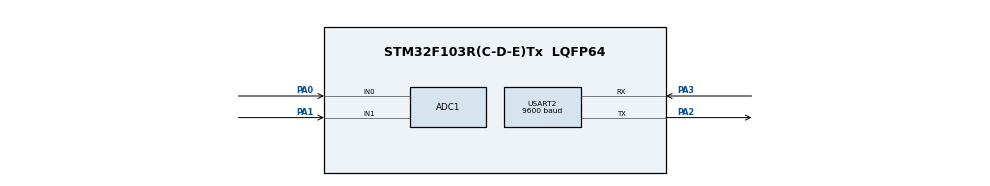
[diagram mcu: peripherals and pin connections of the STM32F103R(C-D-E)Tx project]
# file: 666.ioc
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ADC1.Channel-1\#ChannelRegularConversion=ADC_CHANNEL_0
ADC1.Channel-2\#ChannelRegularConversion=ADC_CHANNEL_1
ADC1.ContinuousConvMode=ENABLE
ADC1.EnableAnalogWatchDog=false
ADC1.EnableInjectedConversion=DISABLE
ADC1.EnableRegularConversion=ENABLE
ADC1.NbrOfConversion=2
ADC1.NbrOfConversionFlag=1
ADC1.Rank-1\#ChannelRegularConversion=1
ADC1.Rank-2\#ChannelRegularConversion=2
ADC1.SamplingTime-1\#ChannelRegularConversion=ADC_SAMPLETIME_7CYCLES_5
ADC1.SamplingTime-2\#ChannelRegularConversion=ADC_SAMPLETIME_7CYCLES_5
ADC1.master=1
Dma.ADC1.0.Direction=DMA_PERIPH_TO_MEMORY
Dma.ADC1.0.Instance=DMA1_Channel1
Dma.ADC1.0.MemDataAlignment=DMA_MDATAALIGN_WORD
Dma.ADC1.0.MemInc=DMA_MINC_ENABLE
Dma.ADC1.0.Mode=DMA_CIRCULAR
Dma.ADC1.0.PeriphDataAlignment=DMA_PDATAALIGN_WORD
Dma.ADC1.0.PeriphInc=DMA_PINC_DISABLE
Dma.ADC1.0.Priority=DMA_PRIORITY_LOW
Dma.Request0=ADC1
Mcu.Family=STM32F1
Mcu.Name=STM32F103R(C-D-E)Tx
Mcu.Package=LQFP64
NVIC.ADC1_2_IRQn=true\:0\:0\:false\:false\:true\:true\:true\:true
NVIC.DMA1_Channel1_IRQn=true\:0\:0\:false\:false\:true\:false\:true\:true
NVIC.PriorityGroup=NVIC_PRIORITYGROUP_4
NVIC.USART2_IRQn=true\:0\:0\:false\:false\:true\:true\:true\:true
PA0-WKUP.Signal=ADCx_IN0
PA1.Signal=ADCx_IN1
PA2.Mode=Asynchronous
PA2.Signal=USART2_TX
PA3.Mode=Asynchronous
PA3.Signal=USART2_RX
ProjectManager.HeapSize=0x200
ProjectManager.StackSize=0x400
ProjectManager.TargetToolchain=MDK-ARM V5
RCC.APB1Freq_Value=8000000
RCC.APB2Freq_Value=8000000
SH.ADCx_IN0.0=ADC1_IN0,IN0
SH.ADCx_IN1.0=ADC1_IN1,IN1
USART2.BaudRate=9600
USART2.VirtualMode=VM_ASYNC
VP_SYS_VS_ND.Mode=No_Debug
board=custom

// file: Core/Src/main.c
/* USER CODE BEGIN Header */
/**
  ******************************************************************************
  * @file           : main.c
  * @brief          : Main program body
  ******************************************************************************
  * @attention
  *
  * Copyright (c) 2026 STMicroelectronics.
  * All rights reserved.
  *
  * This software is licensed under terms that can be found in the LICENSE file
  * in the root directory of this software component.
  * If no LICENSE file comes with this software, it is provided AS-IS.
  *
  ******************************************************************************
  */
/* USER CODE END Header */
#include "main.h"
#include "adc.h"
#include "dma.h"
#include "usart.h"
#include "gpio.h"

/* USER CODE BEGIN Includes */

#include <stdio.h>
#include <string.h>
/* USER CODE END Includes */

void SystemClock_Config(void);

/* USER CODE BEGIN 0 */

#if (__ARMCC_VERSION >= 6010050)
__asm(".global __use_no_semihosting\n\t"); // ARMCC6?????
#else
#pragma import(__use_no_semihosting) // ARMCC5?????
#endif

int fputc(int ch,FILE *f)
{
	uint8_t temp[1] ={ch};
	HAL_UART_Transmit(&huart2,temp,1,20);
	return ch;
}

uint32_t num[3]={4,5,0};

/* USER CODE END 0 */

int main(void)
{

  /* MCU Configuration--------------------------------------------------------*/

  /* Reset of all peripherals, Initializes the Flash interface and the Systick. */
  HAL_Init();

  /* Configure the system clock */
  SystemClock_Config();

  /* Initialize all configured peripherals */
  MX_GPIO_Init();
  MX_DMA_Init();
  MX_USART2_UART_Init();
  MX_ADC1_Init();
  /* USER CODE BEGIN 2 */
	printf("[Debug]main:begin\n");
  HAL_ADC_Start_DMA(&hadc1,num,2);

  /* USER CODE END 2 */

  /* Infinite loop */
  /* USER CODE BEGIN WHILE */
  while (1)
  {
    printf("%ld %ld",(uint16_t)num[0],(uint16_t)num[1]);

    /* USER CODE END WHILE */

  }
}

void SystemClock_Config(void)
{
  RCC_OscInitTypeDef RCC_OscInitStruct = {0};
  RCC_ClkInitTypeDef RCC_ClkInitStruct = {0};
  RCC_PeriphCLKInitTypeDef PeriphClkInit = {0};

  /** Initializes the RCC Oscillators according to the specified parameters
  * in the RCC_OscInitTypeDef structure.
  */
  RCC_OscInitStruct.OscillatorType = RCC_OSCILLATORTYPE_HSI;
  RCC_OscInitStruct.HSIState = RCC_HSI_ON;
  RCC_OscInitStruct.HSICalibrationValue = RCC_HSICALIBRATION_DEFAULT;
  RCC_OscInitStruct.PLL.PLLState = RCC_PLL_NONE;
  if (HAL_RCC_OscConfig(&RCC_OscInitStruct) != HAL_OK)
  {
    Error_Handler();
  }

  /** Initializes the CPU, AHB and APB buses clocks
  */
  RCC_ClkInitStruct.ClockType = RCC_CLOCKTYPE_HCLK|RCC_CLOCKTYPE_SYSCLK
                              |RCC_CLOCKTYPE_PCLK1|RCC_CLOCKTYPE_PCLK2;
  RCC_ClkInitStruct.SYSCLKSource = RCC_SYSCLKSOURCE_HSI;
  RCC_ClkInitStruct.AHBCLKDivider = RCC_SYSCLK_DIV1;
  RCC_ClkInitStruct.APB1CLKDivider = RCC_HCLK_DIV1;
  RCC_ClkInitStruct.APB2CLKDivider = RCC_HCLK_DIV1;

  if (HAL_RCC_ClockConfig(&RCC_ClkInitStruct, FLASH_LATENCY_0) != HAL_OK)
  {
    Error_Handler();
  }
  PeriphClkInit.PeriphClockSelection = RCC_PERIPHCLK_ADC;
  PeriphClkInit.AdcClockSelection = RCC_ADCPCLK2_DIV2;
  if (HAL_RCCEx_PeriphCLKConfig(&PeriphClkInit) != HAL_OK)
  {
    Error_Handler();
  }
}

void Error_Handler(void)
{
  __disable_irq();
  while (1)
  {
  }
}
